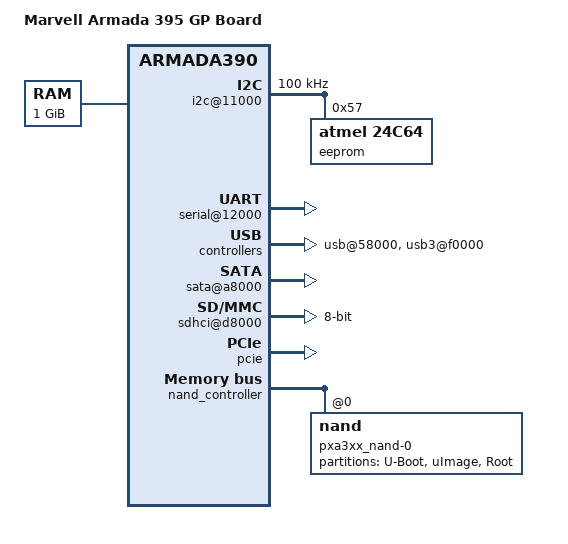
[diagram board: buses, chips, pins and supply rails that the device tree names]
// SPDX-License-Identifier: (GPL-2.0 OR MIT)
/*
 * Device Tree file for Marvell Armada 395 GP board
 *
 * Copyright (C) 2016 Marvell
 *
 * Grzegorz Jaszczyk <jaz@semihalf.com>
 */

/dts-v1/;
#include "armada-395.dtsi"

/ {
	model = "Marvell Armada 395 GP Board";
	compatible = "marvell,a395-gp", "marvell,armada395",
		     "marvell,armada390";

	chosen {
		stdout-path = "serial0:115200n8";
	};

	memory {
		device_type = "memory";
		reg = <0x00000000 0x40000000>; /* 1 GB */
	};

	soc {
		ranges = <MBUS_ID(0xf0, 0x01) 0 0xf1000000 0x100000
			  MBUS_ID(0x01, 0x1d) 0 0xfff00000 0x100000>;

		internal-regs {
			i2c@11000 {
				status = "okay";
				clock-frequency = <100000>;

				eeprom@57 {
					compatible = "atmel,24c64";
					reg = <0x57>;
				};
			};

			serial@12000 {
				/*
				 * Exported on the micro USB connector CON17
				 * through an FTDI
				 */
				status = "okay";
			};

			/* CON1 */
			usb@58000 {
				status = "okay";
			};

			/* CON2 */
			sata@a8000 {
				status = "okay";
			};

			/* CON18 */
			sdhci@d8000 {
				clock-frequency = <200000000>;
				broken-cd;
				wp-inverted;
				bus-width = <8>;
				status = "okay";
				no-1-8-v;
			};

			/* CON4 */
			usb3@f0000 {
				status = "okay";
			};
		};

		pcie {
			status = "okay";

			/*
			 * The two PCIe units are accessible through
			 * mini PCIe slot on the board.
			 */

			/* CON7 */
			pcie@2,0 {
				/* Port 1, Lane 0 */
				status = "okay";
			};

			/* CON8 */
			pcie@4,0 {
				/* Port 3, Lane 0 */
				status = "okay";
			};
		};
	};
};

&nand_controller {
	status = "okay";
	pinctrl-0 = <&nand_pins>;
	pinctrl-names = "default";

	nand@0 {
		reg = <0>;
		label = "pxa3xx_nand-0";
		nand-rb = <0>;
		marvell,nand-keep-config;
		nand-on-flash-bbt;
		nand-ecc-strength = <4>;
		nand-ecc-step-size = <512>;

		partitions {
			compatible = "fixed-partitions";
			#address-cells = <1>;
			#size-cells = <1>;

			partition@0 {
				label = "U-Boot";
				reg = <0x00000000 0x00600000>;
				read-only;
			};

			partition@800000 {
				label = "uImage";
				reg = <0x00600000 0x00400000>;
				read-only;
			};

			partition@1000000 {
				label = "Root";
				reg = <0x00a00000 0x3f600000>;
			};
		};
	};
};
